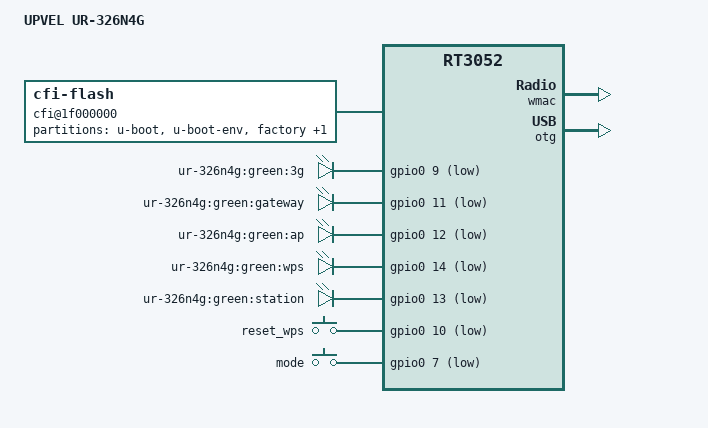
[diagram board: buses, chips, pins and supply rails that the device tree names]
/dts-v1/;

#include "rt3050.dtsi"

/ {
	compatible = "UR-326N4G", "ralink,rt3052-soc";
	model = "UPVEL UR-326N4G";

	cfi@1f000000 {
		compatible = "cfi-flash";
		reg = <0x1f000000 0x800000>;
		bank-width = <2>;
		device-width = <2>;
		#address-cells = <1>;
		#size-cells = <1>;

		partition@0 {
			label = "u-boot";
			reg = <0x0 0x30000>;
			read-only;
		};

		partition@30000 {
			label = "u-boot-env";
			reg = <0x30000 0x10000>;
			read-only;
		};

		factory: partition@40000 {
			label = "factory";
			reg = <0x40000 0x10000>;
			read-only;
		};

		partition@50000 {
			label = "firmware";
			reg = <0x50000 0x3b0000>;
		};
	};

	gpio-leds {
		compatible = "gpio-leds";

		3g {
			label = "ur-326n4g:green:3g";
			gpios = <&gpio0 9 1>;
		};

		gateway {
			label = "ur-326n4g:green:gateway";
			gpios = <&gpio0 11 1>;
		};

		ap {
			label = "ur-326n4g:green:ap";
			gpios = <&gpio0 12 1>;
		};

		wps {
			label = "ur-326n4g:green:wps";
			gpios = <&gpio0 14 1>;
		};

		station {
			label = "ur-326n4g:green:station";
			gpios = <&gpio0 13 1>;
		};
	};

	gpio-keys-polled {
		compatible = "gpio-keys-polled";
		#address-cells = <1>;
		#size-cells = <0>;
		poll-interval = <20>;

		reset_wps {
			label = "reset_wps";
			gpios = <&gpio0 10 1>;
			linux,code = <0x198>;
		};

		mode {
			label = "mode";
			gpios = <&gpio0 7 1>;
			linux,code = <0x32>;
		};
	};
};

&pinctrl {
	state_default: pinctrl0 {
		gpio {
			ralink,group = "spi", "i2c", "jtag", "rgmii", "mdio", "uartf";
			ralink,function = "gpio";
		};
	};
};

&ethernet {
	mtd-mac-address = <&factory 0x4004>;
};

&esw {
	mediatek,portmap = <0x2f>;
};

&wmac {
	ralink,mtd-eeprom = <&factory 0>;
};

&otg {
	status = "okay";
};
